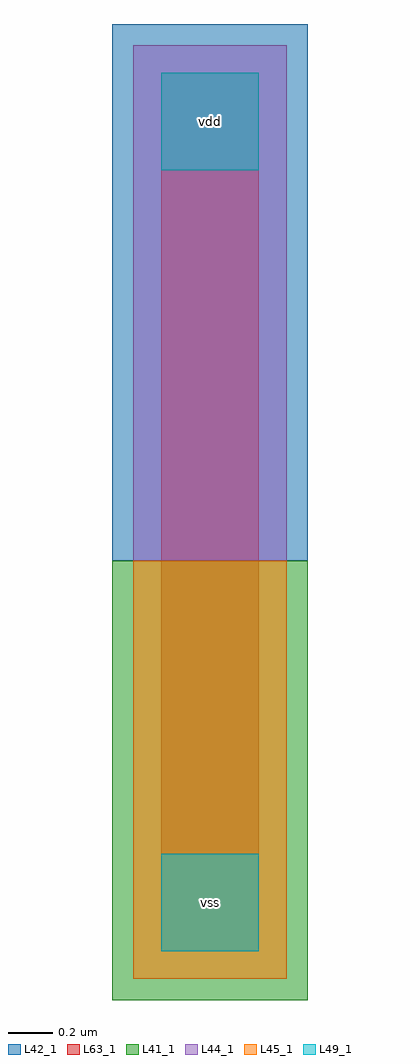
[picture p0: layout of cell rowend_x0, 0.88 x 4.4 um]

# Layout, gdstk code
import gdstk
lib = gdstk.Library(unit=1e-6, precision=1e-09)
def R(c, l, rs):  # rectangles x0, y0, x1, y1
    for r in rs: c.add(gdstk.rectangle(r[:2], r[2:], *l))
L41_1 = (41, 1)
L42_1 = (42, 1)
L44_1 = (44, 1)
L45_1 = (45, 1)
L49_1 = (49, 1)
L63_1 = (63, 1)

rowend_x0 = lib.new_cell('rowend_x0')
R(rowend_x0, L41_1, [(-0.22,-0.22,0.66,1.76)])
R(rowend_x0, L42_1, [(-0.22,1.76,0.66,4.18)])
R(rowend_x0, L44_1, [(-0.125,1.76,0.565,4.085)])
R(rowend_x0, L45_1, [(-0.125,-0.125,0.565,1.76)])
R(rowend_x0, L49_1, [(0,0,0.44,0.44), (0,3.52,0.44,3.96)])
R(rowend_x0, L63_1, [(0,0,0.44,3.96)])
rowend_x0.add(gdstk.Label('vss', (0.22,0.22), layer=49, texttype=1))
rowend_x0.add(gdstk.Label('vdd', (0.22,3.74), layer=49, texttype=1))

lib.write_gds('rowend_x0.gds')
